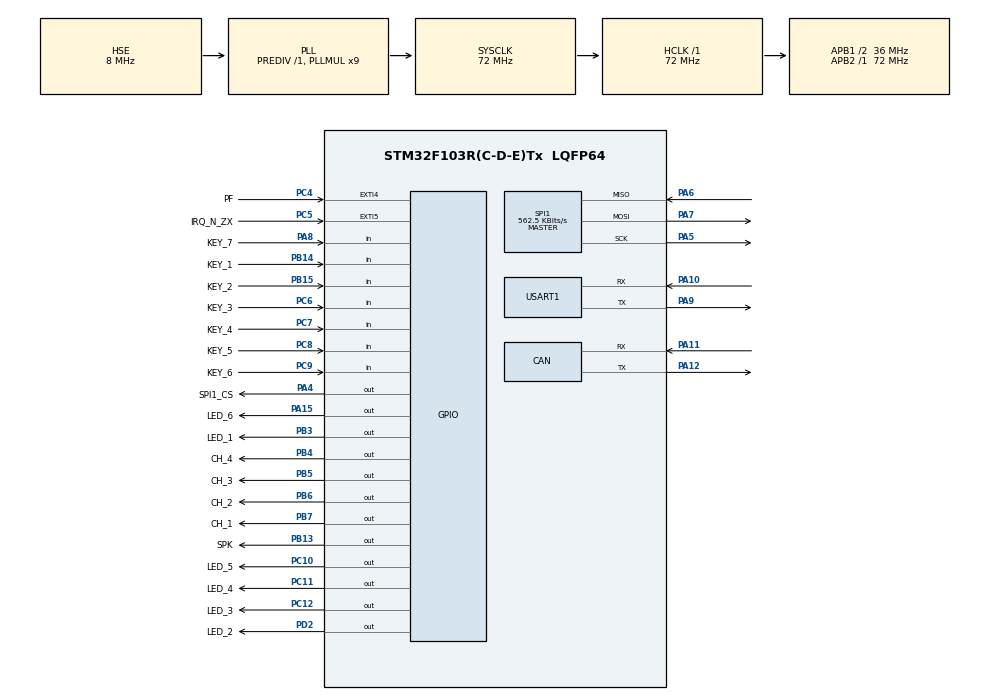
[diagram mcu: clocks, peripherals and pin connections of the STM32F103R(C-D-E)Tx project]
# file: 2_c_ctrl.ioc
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CAN.CalculateTimeBit=1333
CAN.CalculateTimeQuantum=444.44444444444446
FREERTOS.INCLUDE_eTaskGetState=1
FREERTOS.INCLUDE_uxTaskGetStackHighWaterMark=1
FREERTOS.INCLUDE_xTaskGetCurrentTaskHandle=1
FREERTOS.Queues01=key_queue,8,uint8_t,NULL;serial_queue,5,uint8_t,NULL
FREERTOS.Tasks01=system,0,300,sys_task,Default;read_key,0,128,read_key_task,Default;deal_key,2,300,deal_key_task,Default;serial_server,3,800,serial_task,Default
FREERTOS.configTOTAL_HEAP_SIZE=10240
FREERTOS.configUSE_IDLE_HOOK=1
FREERTOS.configUSE_TICK_HOOK=1
Mcu.Family=STM32F1
Mcu.Name=STM32F103R(C-D-E)Tx
Mcu.Package=LQFP64
NVIC.PriorityGroup=NVIC_PRIORITYGROUP_4
NVIC.TIM7_IRQn=true\:0\:0\:false\:false\:true\:false
NVIC.TimeBase=TIM7_IRQn
NVIC.TimeBaseIP=TIM7
PA10.Mode=Asynchronous
PA10.Signal=USART1_RX
PA11.Mode=Master
PA11.Signal=CAN_RX
PA12.Mode=Master
PA12.Signal=CAN_TX
PA13.Mode=Serial_Wire
PA13.Signal=SYS_JTMS-SWDIO
PA14.Mode=Serial_Wire
PA14.Signal=SYS_JTCK-SWCLK
PA15.GPIO_Label=LED_6
PA15.Signal=GPIO_Output
PA4.GPIO_Label=SPI1_CS
PA4.Signal=GPIO_Output
PA5.Mode=Full_Duplex_Master
PA5.Signal=SPI1_SCK
PA6.Mode=Full_Duplex_Master
PA6.Signal=SPI1_MISO
PA7.Mode=Full_Duplex_Master
PA7.Signal=SPI1_MOSI
PA8.GPIO_Label=KEY_7
PA8.Signal=GPIO_Input
PA9.Mode=Asynchronous
PA9.Signal=USART1_TX
PB13.GPIO_Label=SPK
PB13.Signal=GPIO_Output
PB14.GPIO_Label=KEY_1
PB14.Signal=GPIO_Input
PB15.GPIO_Label=KEY_2
PB15.Signal=GPIO_Input
PB3.GPIO_Label=LED_1
PB3.Signal=GPIO_Output
PB4.GPIO_Label=CH_4
PB4.Signal=GPIO_Output
PB5.GPIO_Label=CH_3
PB5.Signal=GPIO_Output
PB6.GPIO_Label=CH_2
PB6.Signal=GPIO_Output
PB7.GPIO_Label=CH_1
PB7.Signal=GPIO_Output
PC10.GPIO_Label=LED_5
PC10.Signal=GPIO_Output
PC11.GPIO_Label=LED_4
PC11.Signal=GPIO_Output
PC12.GPIO_Label=LED_3
PC12.Signal=GPIO_Output
PC4.GPIO_Label=PF
PC4.Signal=GPXTI4
PC5.GPIO_Label=IRQ_N_ZX
PC5.Signal=GPXTI5
PC6.GPIO_Label=KEY_3
PC6.Signal=GPIO_Input
PC7.GPIO_Label=KEY_4
PC7.Signal=GPIO_Input
PC8.GPIO_Label=KEY_5
PC8.Signal=GPIO_Input
PC9.GPIO_Label=KEY_6
PC9.Signal=GPIO_Input
PD0-OSC_IN.Mode=HSE-External-Oscillator
PD0-OSC_IN.Signal=RCC_OSC_IN
PD1-OSC_OUT.Mode=HSE-External-Oscillator
PD1-OSC_OUT.Signal=RCC_OSC_OUT
PD2.GPIO_Label=LED_2
PD2.Signal=GPIO_Output
ProjectManager.HeapSize=0x3000
ProjectManager.StackSize=0x1400
ProjectManager.TargetToolchain=MDK-ARM V5
RCC.AHBFreq_Value=72000000
RCC.APB1CLKDivider=RCC_HCLK_DIV2
RCC.APB1Freq_Value=36000000
RCC.APB1TimFreq_Value=72000000
RCC.APB2Freq_Value=72000000
RCC.APB2TimFreq_Value=72000000
RCC.HCLKFreq_Value=72000000
RCC.HSIState=RCC_HSI_ON
RCC.PLLMUL=RCC_PLL_MUL9
RCC.PLLSourceVirtual=RCC_PLLSOURCE_HSE
RCC.SYSCLKFreq_VALUE=72000000
RCC.SYSCLKSource=RCC_SYSCLKSOURCE_PLLCLK
RCC.USBFreq_Value=72000000
SPI1.BaudRatePrescaler=SPI_BAUDRATEPRESCALER_128
SPI1.CLKPhase=SPI_PHASE_2EDGE
SPI1.CLKPolarity=SPI_POLARITY_HIGH
SPI1.CalculateBaudRate=562.5 KBits/s
SPI1.FirstBit=SPI_FIRSTBIT_MSB
SPI1.Mode=SPI_MODE_MASTER
VP_FREERTOS_VS_ENABLE.Mode=Enabled
VP_SYS_VS_tim7.Mode=TIM7
board=2_c_ctrl

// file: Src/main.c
/**
  ******************************************************************************
  * File Name          : main.c
  * Description        : Main program body
  ******************************************************************************
  *
  * COPYRIGHT(c) 2017 STMicroelectronics
  *
  * Redistribution and use in source and binary forms, with or without modification,
  * are permitted provided that the following conditions are met:
  *   1. Redistributions of source code must retain the above copyright notice,
  *      this list of conditions and the following disclaimer.
  *   2. Redistributions in binary form must reproduce the above copyright notice,
  *      this list of conditions and the following disclaimer in the documentation
  *      and/or other materials provided with the distribution.
  *   3. Neither the name of STMicroelectronics nor the names of its contributors
  *      may be used to endorse or promote products derived from this software
  *      without specific prior written permission.
  *
  * THIS SOFTWARE IS PROVIDED BY THE COPYRIGHT HOLDERS AND CONTRIBUTORS "AS IS"
  * AND ANY EXPRESS OR IMPLIED WARRANTIES, INCLUDING, BUT NOT LIMITED TO, THE
  * IMPLIED WARRANTIES OF MERCHANTABILITY AND FITNESS FOR A PARTICULAR PURPOSE ARE
  * DISCLAIMED. IN NO EVENT SHALL THE COPYRIGHT HOLDER OR CONTRIBUTORS BE LIABLE
  * FOR ANY DIRECT, INDIRECT, INCIDENTAL, SPECIAL, EXEMPLARY, OR CONSEQUENTIAL
  * DAMAGES (INCLUDING, BUT NOT LIMITED TO, PROCUREMENT OF SUBSTITUTE GOODS OR
  * SERVICES; LOSS OF USE, DATA, OR PROFITS; OR BUSINESS INTERRUPTION) HOWEVER
  * CAUSED AND ON ANY THEORY OF LIABILITY, WHETHER IN CONTRACT, STRICT LIABILITY,
  * OR TORT (INCLUDING NEGLIGENCE OR OTHERWISE) ARISING IN ANY WAY OUT OF THE USE
  * OF THIS SOFTWARE, EVEN IF ADVISED OF THE POSSIBILITY OF SUCH DAMAGE.
  *
  ******************************************************************************
  */
#include "stm32f1xx_hal.h"
#include "cmsis_os.h"
#include "can.h"
#include "spi.h"
#include "usart.h"
#include "gpio.h"

/* USER CODE BEGIN Includes */
#include "include.h"
/* USER CODE END Includes */

/* USER CODE BEGIN PV */
/* Private variables ---------------------------------------------------------*/

/* USER CODE END PV */

void SystemClock_Config(void);
void Error_Handler(void);
void MX_FREERTOS_Init(void);

/* USER CODE BEGIN PFP */
/* Private function prototypes -----------------------------------------------*/

/* USER CODE END PFP */

int main(void)
{

  /* MCU Configuration----------------------------------------------------------*/

  /* Reset of all peripherals, Initializes the Flash interface and the Systick. */
  HAL_Init();

  /* Configure the system clock */
  SystemClock_Config();

  /* Initialize all configured peripherals */
  MX_GPIO_Init();
  MX_CAN_Init();
  MX_USART1_UART_Init();
  MX_SPI1_Init();

  /* USER CODE BEGIN 2 */
  init_cse7790(&adjust_info);

  /* USER CODE END 2 */

  /* Call init function for freertos objects (in freertos.c) */
  MX_FREERTOS_Init();

  /* Start scheduler */
  osKernelStart();

  /* We should never get here as control is now taken by the scheduler */

  /* Infinite loop */
  while (1)
  {

  }

}

/** System Clock Configuration
*/
void SystemClock_Config(void)
{

  RCC_OscInitTypeDef RCC_OscInitStruct;
  RCC_ClkInitTypeDef RCC_ClkInitStruct;

  RCC_OscInitStruct.OscillatorType = RCC_OSCILLATORTYPE_HSE;
  RCC_OscInitStruct.HSEState = RCC_HSE_ON;
  RCC_OscInitStruct.HSEPredivValue = RCC_HSE_PREDIV_DIV1;
  RCC_OscInitStruct.PLL.PLLState = RCC_PLL_ON;
  RCC_OscInitStruct.PLL.PLLSource = RCC_PLLSOURCE_HSE;
  RCC_OscInitStruct.PLL.PLLMUL = RCC_PLL_MUL9;
  if (HAL_RCC_OscConfig(&RCC_OscInitStruct) != HAL_OK)
  {
    Error_Handler();
  }

  RCC_ClkInitStruct.ClockType = RCC_CLOCKTYPE_HCLK|RCC_CLOCKTYPE_SYSCLK
                              |RCC_CLOCKTYPE_PCLK1|RCC_CLOCKTYPE_PCLK2;
  RCC_ClkInitStruct.SYSCLKSource = RCC_SYSCLKSOURCE_PLLCLK;
  RCC_ClkInitStruct.AHBCLKDivider = RCC_SYSCLK_DIV1;
  RCC_ClkInitStruct.APB1CLKDivider = RCC_HCLK_DIV2;
  RCC_ClkInitStruct.APB2CLKDivider = RCC_HCLK_DIV1;
  if (HAL_RCC_ClockConfig(&RCC_ClkInitStruct, FLASH_LATENCY_2) != HAL_OK)
  {
    Error_Handler();
  }

  HAL_SYSTICK_Config(HAL_RCC_GetHCLKFreq()/1000);

  HAL_SYSTICK_CLKSourceConfig(SYSTICK_CLKSOURCE_HCLK);

  /* SysTick_IRQn interrupt configuration */
  HAL_NVIC_SetPriority(SysTick_IRQn, 15, 0);
}

void HAL_TIM_PeriodElapsedCallback(TIM_HandleTypeDef *htim)
{
  if (htim->Instance == TIM7) {
    HAL_IncTick();
  }
}

void Error_Handler(void)
{
  while(1)
  {
  }
}

/************************ (C) COPYRIGHT STMicroelectronics *****END OF FILE****/

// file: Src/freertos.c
/**
  ******************************************************************************
  * File Name          : freertos.c
  * Description        : Code for freertos applications
  ******************************************************************************
  *
  * COPYRIGHT(c) 2017 STMicroelectronics
  *
  * Redistribution and use in source and binary forms, with or without modification,
  * are permitted provided that the following conditions are met:
  *   1. Redistributions of source code must retain the above copyright notice,
  *      this list of conditions and the following disclaimer.
  *   2. Redistributions in binary form must reproduce the above copyright notice,
  *      this list of conditions and the following disclaimer in the documentation
  *      and/or other materials provided with the distribution.
  *   3. Neither the name of STMicroelectronics nor the names of its contributors
  *      may be used to endorse or promote products derived from this software
  *      without specific prior written permission.
  *
  * THIS SOFTWARE IS PROVIDED BY THE COPYRIGHT HOLDERS AND CONTRIBUTORS "AS IS"
  * AND ANY EXPRESS OR IMPLIED WARRANTIES, INCLUDING, BUT NOT LIMITED TO, THE
  * IMPLIED WARRANTIES OF MERCHANTABILITY AND FITNESS FOR A PARTICULAR PURPOSE ARE
  * DISCLAIMED. IN NO EVENT SHALL THE COPYRIGHT HOLDER OR CONTRIBUTORS BE LIABLE
  * FOR ANY DIRECT, INDIRECT, INCIDENTAL, SPECIAL, EXEMPLARY, OR CONSEQUENTIAL
  * DAMAGES (INCLUDING, BUT NOT LIMITED TO, PROCUREMENT OF SUBSTITUTE GOODS OR
  * SERVICES; LOSS OF USE, DATA, OR PROFITS; OR BUSINESS INTERRUPTION) HOWEVER
  * CAUSED AND ON ANY THEORY OF LIABILITY, WHETHER IN CONTRACT, STRICT LIABILITY,
  * OR TORT (INCLUDING NEGLIGENCE OR OTHERWISE) ARISING IN ANY WAY OUT OF THE USE
  * OF THIS SOFTWARE, EVEN IF ADVISED OF THE POSSIBILITY OF SUCH DAMAGE.
  *
  ******************************************************************************
  */

#include "FreeRTOS.h"
#include "task.h"
#include "cmsis_os.h"

/* USER CODE BEGIN Includes */
#include "include.h"
/* USER CODE END Includes */

osThreadId systemHandle;
osThreadId read_keyHandle;
osThreadId deal_keyHandle;
osThreadId serial_serverHandle;
osMessageQId key_queueHandle;
osMessageQId serial_queueHandle;

void sys_task(void const * argument);
void read_key_task(void const * argument);
void deal_key_task(void const * argument);
void serial_task(void const * argument);

void MX_FREERTOS_Init(void); /* (MISRA C 2004 rule 8.1) */

/* Hook prototypes */
void vApplicationIdleHook(void);
void vApplicationTickHook(void);

/* USER CODE BEGIN 2 */
void vApplicationIdleHook(void)
{}
void vApplicationTickHook(void)
{}
/* USER CODE END 2 */

/* Init FreeRTOS */

void MX_FREERTOS_Init(void) {

  /* Create the thread(s) */
  /* definition and creation of system */
  osThreadDef(system, sys_task, osPriorityNormal, 0, 300);
  systemHandle = osThreadCreate(osThread(system), NULL);

  /* definition and creation of read_key */
  osThreadDef(read_key, read_key_task, osPriorityNormal, 0, 128);
  read_keyHandle = osThreadCreate(osThread(read_key), NULL);

  /* definition and creation of deal_key */
  osThreadDef(deal_key, deal_key_task, osPriorityHigh, 0, 300);
  deal_keyHandle = osThreadCreate(osThread(deal_key), NULL);

  /* definition and creation of serial_server */
  osThreadDef(serial_server, serial_task, osPriorityRealtime, 0, 800);
  serial_serverHandle = osThreadCreate(osThread(serial_server), NULL);

  /* Create the queue(s) */
  /* definition and creation of key_queue */
  osMessageQDef(key_queue, 8, uint8_t);
  key_queueHandle = osMessageCreate(osMessageQ(key_queue), NULL);

  /* definition and creation of serial_queue */
  osMessageQDef(serial_queue, 5, uint8_t);
  serial_queueHandle = osMessageCreate(osMessageQ(serial_queue), NULL);

}

/* sys_task function */
void sys_task(void const * argument)
{

  /* USER CODE BEGIN sys_task */
  /* Infinite loop */
  for(;;)
  {
	LED_1_TOG;
	LED_2_TOG;
	LED_5_TOG;
	LED_6_TOG;
	osDelay(300);
  }
  /* USER CODE END sys_task */
}

/* read_key_task function */
void read_key_task(void const * argument)
{
  /* USER CODE BEGIN read_key_task */
  /* Infinite loop */
  for(;;)
  {
	read_key();
	osDelay(40);
  }
  /* USER CODE END read_key_task */
}

/* deal_key_task function */
void deal_key_task(void const * argument)
{
  /* USER CODE BEGIN deal_key_task */
  unsigned char recv_key_value;
  /* Infinite loop */
  for(;;)
  {
	xQueueReceive(key_queueHandle, &recv_key_value, portMAX_DELAY);
	deal_key_value(recv_key_value);
  }
  /* USER CODE END deal_key_task */
}

/* serial_task function */
void serial_task(void const * argument)
{
  for(;;)
  {
    osDelay(1);
  }
}

/************************ (C) COPYRIGHT STMicroelectronics *****END OF FILE****/
